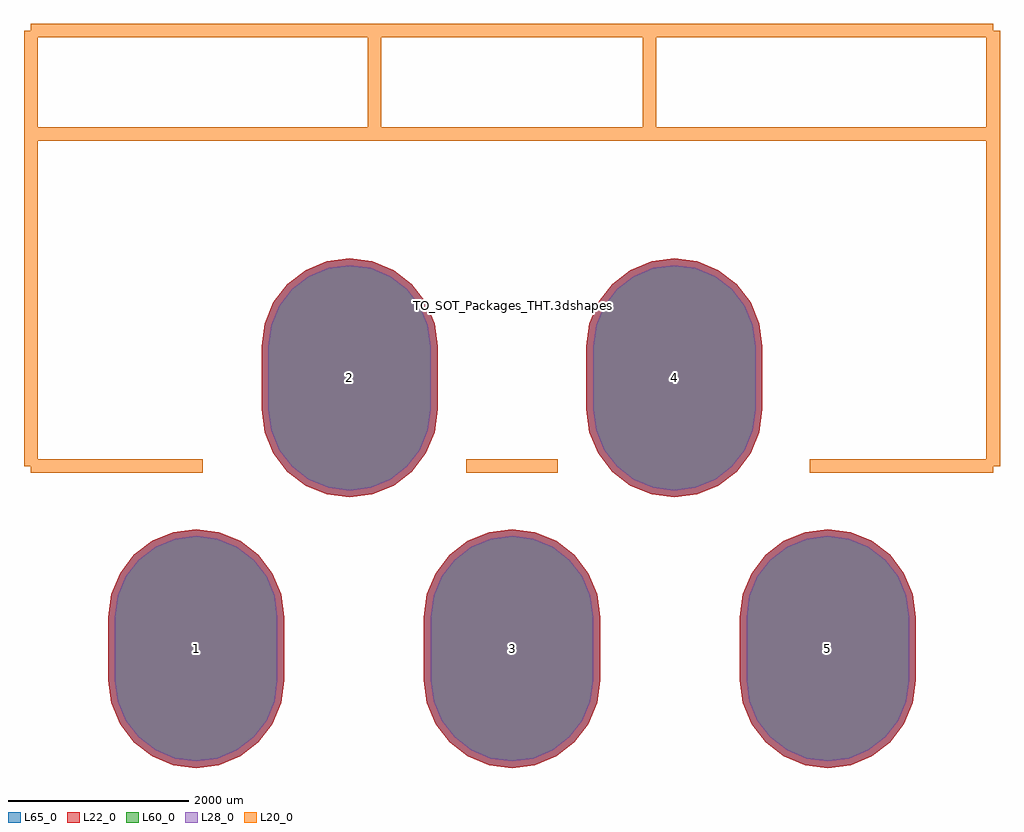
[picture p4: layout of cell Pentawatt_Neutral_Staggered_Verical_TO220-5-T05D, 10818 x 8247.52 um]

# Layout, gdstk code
import gdstk
lib = gdstk.Library(unit=1e-6, precision=1e-09)
def P(c, l, *ps):  # polygons
    for p in ps: c.add(gdstk.Polygon(p, *l))
L20_0 = (20, 0)
L22_0 = (22, 0)
L28_0 = (28, 0)
L60_0 = (60, 0)
L65_0 = (65, 0)

pentawatt_neutral_stagge = lib.new_cell('Pentawatt_Neutral_Staggered_Verical_TO220-5-T05D')
P(pentawatt_neutral_stagge, L22_0, [(-1800.86,-2124.78),(-1548.4,-2091.543),(-1313.145,-1994.097),(-1111.127,-1839.083),(-956.113,-1637.065),(-858.667,-1401.81),(-825.43,-1149.35),(-825.43,-450.85),(-858.667,-198.39),(-956.113,36.865),(-1111.127,238.883),(-1313.145,393.897),(-1548.4,491.343),(-1800.86,524.58),(-2053.32,491.343),(-2288.575,393.897),(-2490.593,238.883),(-2645.607,36.865),(-2743.053,-198.39),(-2776.29,-450.85),(-2776.29,-1149.35),(-2743.053,-1401.81),(-2645.607,-1637.065),(-2490.593,-1839.083),(-2288.575,-1994.097),(-2053.32,-2091.543)],
  [(1800.86,-2124.78),(2053.32,-2091.543),(2288.575,-1994.097),(2490.593,-1839.083),(2645.607,-1637.065),(2743.053,-1401.81),(2776.29,-1149.35),(2776.29,-450.85),(2743.053,-198.39),(2645.607,36.865),(2490.593,238.883),(2288.575,393.897),(2053.32,491.343),(1800.86,524.58),(1548.4,491.343),(1313.145,393.897),(1111.127,238.883),(956.113,36.865),(858.667,-198.39),(825.43,-450.85),(825.43,-1149.35),(858.667,-1401.81),(956.113,-1637.065),(1111.127,-1839.083),(1313.145,-1994.097),(1548.4,-2091.543)],
  [(3500.12,-5124.52),(3752.58,-5091.283),(3987.835,-4993.837),(4189.853,-4838.823),(4344.867,-4636.805),(4442.313,-4401.55),(4475.55,-4149.09),(4475.55,-3450.59),(4442.313,-3198.13),(4344.867,-2962.875),(4189.853,-2760.857),(3987.835,-2605.843),(3752.58,-2508.397),(3500.12,-2475.16),(3247.66,-2508.397),(3012.405,-2605.843),(2810.387,-2760.857),(2655.373,-2962.875),(2557.927,-3198.13),(2524.69,-3450.59),(2524.69,-4149.09),(2557.927,-4401.55),(2655.373,-4636.805),(2810.387,-4838.823),(3012.405,-4993.837),(3247.66,-5091.283)],
  [(-3500.12,-5124.52),(-3247.66,-5091.283),(-3012.405,-4993.837),(-2810.387,-4838.823),(-2655.373,-4636.805),(-2557.927,-4401.55),(-2524.69,-4149.09),(-2524.69,-3450.59),(-2557.927,-3198.13),(-2655.373,-2962.875),(-2810.387,-2760.857),(-3012.405,-2605.843),(-3247.66,-2508.397),(-3500.12,-2475.16),(-3752.58,-2508.397),(-3987.835,-2605.843),(-4189.853,-2760.857),(-4344.867,-2962.875),(-4442.313,-3198.13),(-4475.55,-3450.59),(-4475.55,-4149.09),(-4442.313,-4401.55),(-4344.867,-4636.805),(-4189.853,-4838.823),(-3987.835,-4993.837),(-3752.58,-5091.283)],
  [(0,-5124.52),(252.46,-5091.283),(487.715,-4993.837),(689.733,-4838.823),(844.747,-4636.805),(942.193,-4401.55),(975.43,-4149.09),(975.43,-3450.59),(942.193,-3198.13),(844.747,-2962.875),(689.733,-2760.857),(487.715,-2605.843),(252.46,-2508.397),(0,-2475.16),(-252.46,-2508.397),(-487.715,-2605.843),(-689.733,-2760.857),(-844.747,-2962.875),(-942.193,-3198.13),(-975.43,-3450.59),(-975.43,-4149.09),(-942.193,-4401.55),(-844.747,-4636.805),(-689.733,-4838.823),(-487.715,-4993.837),(-252.46,-5091.283)])
P(pentawatt_neutral_stagge, L28_0, [(-1800.86,-2049.78),(-1567.812,-2019.099),(-1350.645,-1929.145),(-1164.16,-1786.05),(-1021.065,-1599.565),(-931.111,-1382.398),(-900.43,-1149.35),(-900.43,-450.85),(-931.111,-217.802),(-1021.065,-0.635),(-1164.16,185.85),(-1350.645,328.945),(-1567.812,418.899),(-1800.86,449.58),(-2033.908,418.899),(-2251.075,328.945),(-2437.56,185.85),(-2580.655,-0.635),(-2670.609,-217.802),(-2701.29,-450.85),(-2701.29,-1149.35),(-2670.609,-1382.398),(-2580.655,-1599.565),(-2437.56,-1786.05),(-2251.075,-1929.145),(-2033.908,-2019.099)],
  [(1800.86,-2049.78),(2033.908,-2019.099),(2251.075,-1929.145),(2437.56,-1786.05),(2580.655,-1599.565),(2670.609,-1382.398),(2701.29,-1149.35),(2701.29,-450.85),(2670.609,-217.802),(2580.655,-0.635),(2437.56,185.85),(2251.075,328.945),(2033.908,418.899),(1800.86,449.58),(1567.812,418.899),(1350.645,328.945),(1164.16,185.85),(1021.065,-0.635),(931.111,-217.802),(900.43,-450.85),(900.43,-1149.35),(931.111,-1382.398),(1021.065,-1599.565),(1164.16,-1786.05),(1350.645,-1929.145),(1567.812,-2019.099)],
  [(3500.12,-5049.52),(3733.168,-5018.839),(3950.335,-4928.885),(4136.82,-4785.79),(4279.915,-4599.305),(4369.869,-4382.138),(4400.55,-4149.09),(4400.55,-3450.59),(4369.869,-3217.542),(4279.915,-3000.375),(4136.82,-2813.89),(3950.335,-2670.795),(3733.168,-2580.841),(3500.12,-2550.16),(3267.072,-2580.841),(3049.905,-2670.795),(2863.42,-2813.89),(2720.325,-3000.375),(2630.371,-3217.542),(2599.69,-3450.59),(2599.69,-4149.09),(2630.371,-4382.138),(2720.325,-4599.305),(2863.42,-4785.79),(3049.905,-4928.885),(3267.072,-5018.839)],
  [(-3500.12,-5049.52),(-3267.072,-5018.839),(-3049.905,-4928.885),(-2863.42,-4785.79),(-2720.325,-4599.305),(-2630.371,-4382.138),(-2599.69,-4149.09),(-2599.69,-3450.59),(-2630.371,-3217.542),(-2720.325,-3000.375),(-2863.42,-2813.89),(-3049.905,-2670.795),(-3267.072,-2580.841),(-3500.12,-2550.16),(-3733.168,-2580.841),(-3950.335,-2670.795),(-4136.82,-2813.89),(-4279.915,-3000.375),(-4369.869,-3217.542),(-4400.55,-3450.59),(-4400.55,-4149.09),(-4369.869,-4382.138),(-4279.915,-4599.305),(-4136.82,-4785.79),(-3950.335,-4928.885),(-3733.168,-5018.839)],
  [(0,-5049.52),(233.048,-5018.839),(450.215,-4928.885),(636.7,-4785.79),(779.795,-4599.305),(869.749,-4382.138),(900.43,-4149.09),(900.43,-3450.59),(869.749,-3217.542),(779.795,-3000.375),(636.7,-2813.89),(450.215,-2670.795),(233.048,-2580.841),(0,-2550.16),(-233.048,-2580.841),(-450.215,-2670.795),(-636.7,-2813.89),(-779.795,-3000.375),(-869.749,-3217.542),(-900.43,-3450.59),(-900.43,-4149.09),(-869.749,-4382.138),(-779.795,-4599.305),(-636.7,-4785.79),(-450.215,-4928.885),(-233.048,-5018.839)])
P(pentawatt_neutral_stagge, L60_0, [(-1800.86,-2049.78),(-1567.812,-2019.099),(-1350.645,-1929.145),(-1164.16,-1786.05),(-1021.065,-1599.565),(-931.111,-1382.398),(-900.43,-1149.35),(-900.43,-450.85),(-931.111,-217.802),(-1021.065,-0.635),(-1164.16,185.85),(-1350.645,328.945),(-1567.812,418.899),(-1800.86,449.58),(-2033.908,418.899),(-2251.075,328.945),(-2437.56,185.85),(-2580.655,-0.635),(-2670.609,-217.802),(-2701.29,-450.85),(-2701.29,-1149.35),(-2670.609,-1382.398),(-2580.655,-1599.565),(-2437.56,-1786.05),(-2251.075,-1929.145),(-2033.908,-2019.099)],
  [(1800.86,-2049.78),(2033.908,-2019.099),(2251.075,-1929.145),(2437.56,-1786.05),(2580.655,-1599.565),(2670.609,-1382.398),(2701.29,-1149.35),(2701.29,-450.85),(2670.609,-217.802),(2580.655,-0.635),(2437.56,185.85),(2251.075,328.945),(2033.908,418.899),(1800.86,449.58),(1567.812,418.899),(1350.645,328.945),(1164.16,185.85),(1021.065,-0.635),(931.111,-217.802),(900.43,-450.85),(900.43,-1149.35),(931.111,-1382.398),(1021.065,-1599.565),(1164.16,-1786.05),(1350.645,-1929.145),(1567.812,-2019.099)],
  [(3500.12,-5049.52),(3733.168,-5018.839),(3950.335,-4928.885),(4136.82,-4785.79),(4279.915,-4599.305),(4369.869,-4382.138),(4400.55,-4149.09),(4400.55,-3450.59),(4369.869,-3217.542),(4279.915,-3000.375),(4136.82,-2813.89),(3950.335,-2670.795),(3733.168,-2580.841),(3500.12,-2550.16),(3267.072,-2580.841),(3049.905,-2670.795),(2863.42,-2813.89),(2720.325,-3000.375),(2630.371,-3217.542),(2599.69,-3450.59),(2599.69,-4149.09),(2630.371,-4382.138),(2720.325,-4599.305),(2863.42,-4785.79),(3049.905,-4928.885),(3267.072,-5018.839)],
  [(-3500.12,-5049.52),(-3267.072,-5018.839),(-3049.905,-4928.885),(-2863.42,-4785.79),(-2720.325,-4599.305),(-2630.371,-4382.138),(-2599.69,-4149.09),(-2599.69,-3450.59),(-2630.371,-3217.542),(-2720.325,-3000.375),(-2863.42,-2813.89),(-3049.905,-2670.795),(-3267.072,-2580.841),(-3500.12,-2550.16),(-3733.168,-2580.841),(-3950.335,-2670.795),(-4136.82,-2813.89),(-4279.915,-3000.375),(-4369.869,-3217.542),(-4400.55,-3450.59),(-4400.55,-4149.09),(-4369.869,-4382.138),(-4279.915,-4599.305),(-4136.82,-4785.79),(-3950.335,-4928.885),(-3733.168,-5018.839)],
  [(0,-5049.52),(233.048,-5018.839),(450.215,-4928.885),(636.7,-4785.79),(779.795,-4599.305),(869.749,-4382.138),(900.43,-4149.09),(900.43,-3450.59),(869.749,-3217.542),(779.795,-3000.375),(636.7,-2813.89),(450.215,-2670.795),(233.048,-2580.841),(0,-2550.16),(-233.048,-2580.841),(-450.215,-2670.795),(-636.7,-2813.89),(-779.795,-3000.375),(-869.749,-3217.542),(-900.43,-3450.59),(-900.43,-4149.09),(-869.749,-4382.138),(-779.795,-4599.305),(-636.7,-4785.79),(-450.215,-4928.885),(-233.048,-5018.839)])
P(pentawatt_neutral_stagge, L65_0, [(-1800.86,-2124.78),(-1548.4,-2091.543),(-1313.145,-1994.097),(-1111.127,-1839.083),(-956.113,-1637.065),(-858.667,-1401.81),(-825.43,-1149.35),(-825.43,-450.85),(-858.667,-198.39),(-956.113,36.865),(-1111.127,238.883),(-1313.145,393.897),(-1548.4,491.343),(-1800.86,524.58),(-2053.32,491.343),(-2288.575,393.897),(-2490.593,238.883),(-2645.607,36.865),(-2743.053,-198.39),(-2776.29,-450.85),(-2776.29,-1149.35),(-2743.053,-1401.81),(-2645.607,-1637.065),(-2490.593,-1839.083),(-2288.575,-1994.097),(-2053.32,-2091.543)],
  [(1800.86,-2124.78),(2053.32,-2091.543),(2288.575,-1994.097),(2490.593,-1839.083),(2645.607,-1637.065),(2743.053,-1401.81),(2776.29,-1149.35),(2776.29,-450.85),(2743.053,-198.39),(2645.607,36.865),(2490.593,238.883),(2288.575,393.897),(2053.32,491.343),(1800.86,524.58),(1548.4,491.343),(1313.145,393.897),(1111.127,238.883),(956.113,36.865),(858.667,-198.39),(825.43,-450.85),(825.43,-1149.35),(858.667,-1401.81),(956.113,-1637.065),(1111.127,-1839.083),(1313.145,-1994.097),(1548.4,-2091.543)],
  [(3500.12,-5124.52),(3752.58,-5091.283),(3987.835,-4993.837),(4189.853,-4838.823),(4344.867,-4636.805),(4442.313,-4401.55),(4475.55,-4149.09),(4475.55,-3450.59),(4442.313,-3198.13),(4344.867,-2962.875),(4189.853,-2760.857),(3987.835,-2605.843),(3752.58,-2508.397),(3500.12,-2475.16),(3247.66,-2508.397),(3012.405,-2605.843),(2810.387,-2760.857),(2655.373,-2962.875),(2557.927,-3198.13),(2524.69,-3450.59),(2524.69,-4149.09),(2557.927,-4401.55),(2655.373,-4636.805),(2810.387,-4838.823),(3012.405,-4993.837),(3247.66,-5091.283)],
  [(-3500.12,-5124.52),(-3247.66,-5091.283),(-3012.405,-4993.837),(-2810.387,-4838.823),(-2655.373,-4636.805),(-2557.927,-4401.55),(-2524.69,-4149.09),(-2524.69,-3450.59),(-2557.927,-3198.13),(-2655.373,-2962.875),(-2810.387,-2760.857),(-3012.405,-2605.843),(-3247.66,-2508.397),(-3500.12,-2475.16),(-3752.58,-2508.397),(-3987.835,-2605.843),(-4189.853,-2760.857),(-4344.867,-2962.875),(-4442.313,-3198.13),(-4475.55,-3450.59),(-4475.55,-4149.09),(-4442.313,-4401.55),(-4344.867,-4636.805),(-4189.853,-4838.823),(-3987.835,-4993.837),(-3752.58,-5091.283)],
  [(0,-5124.52),(252.46,-5091.283),(487.715,-4993.837),(689.733,-4838.823),(844.747,-4636.805),(942.193,-4401.55),(975.43,-4149.09),(975.43,-3450.59),(942.193,-3198.13),(844.747,-2962.875),(689.733,-2760.857),(487.715,-2605.843),(252.46,-2508.397),(0,-2475.16),(-252.46,-2508.397),(-487.715,-2605.843),(-689.733,-2760.857),(-844.747,-2962.875),(-942.193,-3198.13),(-975.43,-3450.59),(-975.43,-4149.09),(-942.193,-4401.55),(-844.747,-4636.805),(-689.733,-4838.823),(-487.715,-4993.837),(-252.46,-5091.283)])
pentawatt_neutral_stagge.add(gdstk.FlexPath([(0,3048),(5334,3048)], 149.998, ends="flush", simple_path=True, layer=20, datatype=0))  # L20_0
pentawatt_neutral_stagge.add(gdstk.FlexPath([(0,3048),(-5334,3048)], 149.998, ends="flush", simple_path=True, layer=20, datatype=0))  # L20_0
pentawatt_neutral_stagge.add(gdstk.FlexPath([(-5334,1905),(-5334,3048)], 149.998, ends="flush", simple_path=True, layer=20, datatype=0))  # L20_0
pentawatt_neutral_stagge.add(gdstk.FlexPath([(5334,1905),(-5334,1905)], 149.998, ends="flush", simple_path=True, layer=20, datatype=0))  # L20_0
pentawatt_neutral_stagge.add(gdstk.FlexPath([(5334,3048),(5334,1905)], 149.998, ends="flush", simple_path=True, layer=20, datatype=0))  # L20_0
pentawatt_neutral_stagge.add(gdstk.FlexPath([(-5334,-1778),(-5334,1905)], 149.998, ends="flush", simple_path=True, layer=20, datatype=0))  # L20_0
pentawatt_neutral_stagge.add(gdstk.FlexPath([(5334,1905),(5334,-1778)], 149.998, ends="flush", simple_path=True, layer=20, datatype=0))  # L20_0
pentawatt_neutral_stagge.add(gdstk.FlexPath([(1524,3048),(1524,1905)], 149.998, ends="flush", simple_path=True, layer=20, datatype=0))  # L20_0
pentawatt_neutral_stagge.add(gdstk.FlexPath([(-1524,3048),(-1524,1905)], 149.998, ends="flush", simple_path=True, layer=20, datatype=0))  # L20_0
pentawatt_neutral_stagge.add(gdstk.FlexPath([(-5334,-1778),(-3429,-1778)], 149.998, ends="flush", simple_path=True, layer=20, datatype=0))  # L20_0
pentawatt_neutral_stagge.add(gdstk.FlexPath([(-508,-1778),(508,-1778)], 149.998, ends="flush", simple_path=True, layer=20, datatype=0))  # L20_0
pentawatt_neutral_stagge.add(gdstk.FlexPath([(3302,-1778),(5334,-1778)], 149.998, ends="flush", simple_path=True, layer=20, datatype=0))  # L20_0
pentawatt_neutral_stagge.add(gdstk.Label('TO_SOT_Packages_THT.3dshapes/Pentawatt_Neutral_Staggered_Verical_TO220-5-T05D.wrl', (0,0), layer=12, texttype=0))
pentawatt_neutral_stagge.add(gdstk.Label('2', (-1800.86,-800.1), layer=28, texttype=0))
pentawatt_neutral_stagge.add(gdstk.Label('4', (1800.86,-800.1), layer=28, texttype=0))
pentawatt_neutral_stagge.add(gdstk.Label('5', (3500.12,-3799.84), layer=28, texttype=0))
pentawatt_neutral_stagge.add(gdstk.Label('1', (-3500.12,-3799.84), layer=28, texttype=0))
pentawatt_neutral_stagge.add(gdstk.Label('3', (0,-3799.84), layer=28, texttype=0))
pentawatt_neutral_stagge.add(gdstk.Label('1', (-6350,-3810), layer=9, texttype=0))
pentawatt_neutral_stagge.add(gdstk.Label('type', (1270,-7620), layer=9, texttype=0))
pentawatt_neutral_stagge.add(gdstk.Label('devicename', (0,5080), layer=9, texttype=0))

lib.write_gds('Pentawatt_Neutral_Staggered_Verical_TO220-5-T05D.gds')
